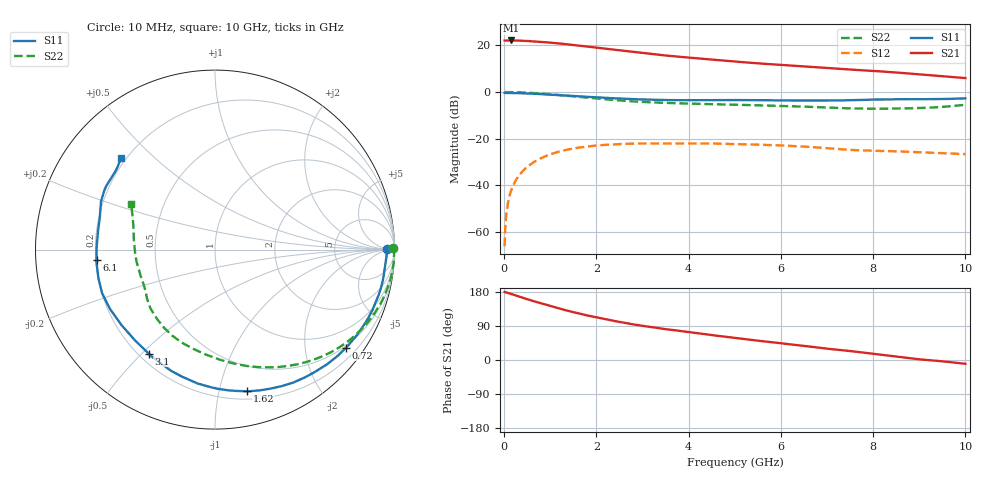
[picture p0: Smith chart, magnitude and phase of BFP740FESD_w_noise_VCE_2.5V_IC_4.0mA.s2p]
! Infineon Technologies  Discrete & RF Semiconductors
! BFP740FESD
! VCE =  2.5 V,  IC =  4.0 mA
! Common Emitter S-Parameters:  Jan 2016
# GHz  S  MA  R  50
!  f  S11  S21  S12  S22
! GHz  MAG  ANG  MAG  ANG  MAG  ANG  MAG  ANG
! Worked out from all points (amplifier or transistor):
!   233 points, 10 MHz to 10 GHz, reference 50 ohm
!   highest |S21| = 22.1 dB at 150 MHz (marker M1)
!   |S21| within 3 dB of that: start of sweep to 1.974 GHz
!   unconditionally stable (mu >= 1): 7.324 GHz to end of sweep
!   at 200 MHz: K = 0.01, MSG = 31.0 dB, |S12| = -39.8 dB
!   at 1.74 GHz: K = 0.17, MSG = 21.6 dB, |S12| = -23.5 dB
!   at 10 GHz: K = 1.58, MAG = 11.8 dB, |S12| = -26.6 dB
!   lowest NFmin = 0.46 dB at 450 MHz
!   S11 on the Smith chart (normalised r, x): 10 MHz: 45, +4; 720 MHz: 0.46, -2.94; 1.62 GHz: 0.27, -1.22; 3.1 GHz: 0.24, -0.52; 6.1 GHz: 0.20, -0.04; 10 GHz: 0.18, +0.40
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0.01  0.9565 0.2  12.67 179.5  0.0005 59.9  0.9927 0.4
0.025  0.9575 -1.3  12.62 179.1  0.0013 85.7  0.9985 -0.9
0.05  0.9556 -2.6  12.62 177.9  0.0026 88.9  0.9984 -1.8
0.15  0.9517 -7.9  12.72 174.2  0.0077 85.4  0.9966 -5.5
0.38  0.9404 -19.8  12.55 165.2  0.0191 77.4  0.9816 -13.9
0.72  0.9116 -36.8  12.02 152.3  0.035 66.4  0.941 -25.9
0.92  0.8909 -46.4  11.6 145.2  0.0432 60.2  0.9101 -32.6
1.2  0.8594 -59.5  10.97 135.7  0.0534 52.0  0.8614 -41.8
1.4  0.8339 -68.3  10.46 129.2  0.0593 46.4  0.824 -48.1
1.62  0.8093 -77.2  9.902 122.7  0.0646 40.7  0.7852 -54.5
1.68  0.8023 -79.4  9.75 121.0  0.0659 39.3  0.7753 -56.2
2.02  0.7681 -91.4  8.889 111.9  0.0716 31.9  0.7229 -65.1
2.4  0.7338 -103.7  8.043 102.7  0.0763 24.5  0.6728 -74.6
2.8  0.7023 -115.3  7.219 94.0  0.0787 17.7  0.6299 -83.6
3.1  0.6872 -122.6  6.682 88.5  0.0793 13.5  0.6072 -89.1
3.4  0.6757 -129.2  6.205 83.3  0.0795 9.7  0.59 -93.9
4.3  0.6689 -146.9  5.153 69.0  0.0792 0.6  0.5555 -106.6
5.1  0.6724 -160.3  4.42 56.8  0.0766 -6.7  0.5314 -117.9
6.1  0.662 -175.2  3.763 42.8  0.0711 -14.3  0.4991 -131.6
6.8  0.6582 173.9  3.379 32.9  0.0649 -18.4  0.4745 -141.4
8.4  0.6992 152.0  2.664 10.5  0.0541 -17.0  0.442 -171.1
10  0.7314 135.6  1.99 -10.0  0.0468 -13.6  0.5322 151.4
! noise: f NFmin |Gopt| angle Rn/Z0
0.45  0.46  0.63  6  0.14
2.4  0.64  0.36  45  0.14
5.5  0.85  0.44  128  0.09
10  1.65  0.47  -141  0.15
